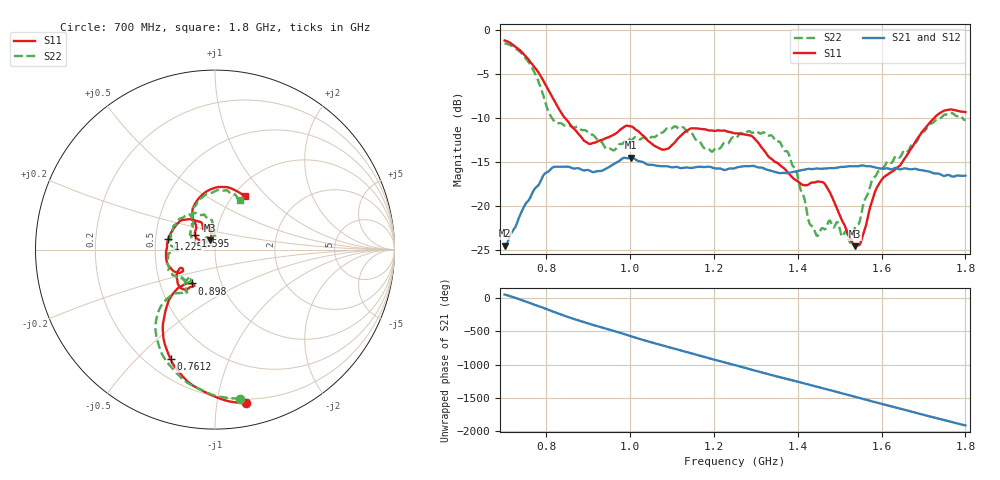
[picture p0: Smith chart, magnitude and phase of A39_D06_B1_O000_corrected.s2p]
! Created with skrf 1.9.0 (http://scikit-rf.org).
# Hz S RI R 50.0
!freq ReS11 ImS11 ReS21 ImS21 ReS12 ImS12 ReS22 ImS22
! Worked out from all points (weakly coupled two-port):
!   1601 points, 700 MHz to 1.8 GHz, reference 50 ohm
!   highest |S21| = -14.47 dB at 1.002 GHz (marker M1); lowest = -24.5 dB at 700 MHz (marker M2)
!   lowest |S11| = -24.5 dB at 1.537 GHz (marker M3), VSWR 1.13, Z = 47.1 + j5 ohm
!   |S11| at or under -10 dB: 844.2 MHz to 1.725 GHz (880.9 MHz wide, 68.6 % of centre)
!   |S22| runs from -24.1 to -1.5 dB; largest |S21 - S12| = 0.0034
!   S11 on the Smith chart (normalised r, x): 700 MHz: 0.17, -1.21; 761.2 MHz: 0.29, -0.63; 898 MHz: 0.72, -0.29; 1.225 GHz: 0.58, +0.08; 1.595 GHz: 0.79, +0.13; 1.8 GHz: 1.12, +0.76
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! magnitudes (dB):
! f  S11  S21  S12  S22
! 700 MHz  -1.2  -24.5  -24.3  -1.5
! 761.2 MHz  -3.6  -19.0  -18.9  -3.9
! 816.9 MHz  -7.9  -15.6  -15.7  -10.3
! 883.6 MHz  -12.2  -15.8  -15.7  -11.4
! 898 MHz  -12.8  -15.9  -16.0  -11.6
! 957.8 MHz  -12.0  -15.3  -15.3  -13.6
! 1.002 GHz  -10.9  -14.5  -14.6  -12.5
! 1.067 GHz  -13.4  -15.4  -15.4  -11.8
! 1.145 GHz  -11.2  -15.7  -15.7  -11.6
! 1.193 GHz  -11.4  -15.6  -15.5  -13.8
! 1.225 GHz  -11.4  -15.9  -15.8  -12.8
! 1.25 GHz  -11.7  -15.7  -15.6  -12.3
! 1.357 GHz  -15.3  -16.2  -16.2  -12.7
! 1.395 GHz  -17.0  -16.1  -16.0  -15.8
! 1.434 GHz  -17.3  -15.8  -15.7  -22.3
! 1.467 GHz  -17.6  -15.7  -15.7  -22.5
! 1.525 GHz  -23.7  -15.5  -15.4  -24.1
! 1.537 GHz  -24.5  -15.5  -15.5  -22.4
! 1.595 GHz  -17.4  -15.7  -15.7  -15.8
! 1.617 GHz  -16.3  -15.7  -15.7  -15.0
! 1.734 GHz  -9.6  -16.3  -16.3  -10.1
! 1.8 GHz  -9.3  -16.5  -16.5  -10.2
